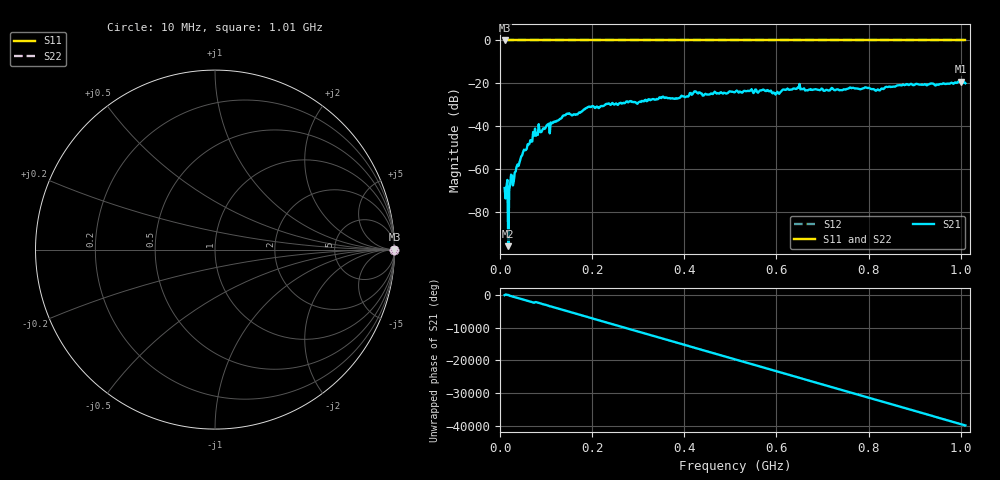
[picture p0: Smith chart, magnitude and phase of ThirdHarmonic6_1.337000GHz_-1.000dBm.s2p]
! 8/16/2025 2:59:09 PM
! C:\ANRITSUVNA\TEMP\TEMP.S2P
! CHANNEL.1
! TR.MEASUREMENT
! RAW.DATA
! RF.CORRECTION.OFF
! AVERAGING.OFF
! IF.BANDWIDTH: 5KHZ
! SWEEPTYPE:  FREQ.SWEEP(Linear)
! Reference Plane Port Info
! PORT:  PORT1  PORT2
! DISTANCE:  0  m  0  m
! TIME:  0  s  0  s
! PHASE.OFFSET:  0  deg.  0  deg.
! LOSS:  0  dB  0  dB
! REF.LOSS:  0  dB  0  dB
! REF.FREQ:  0  Hz  0  Hz
! Power Info
! POWER:  -20  dBm  -20  dBm
! EFF.POWER:  -20  dBm  -20  dBm
! SOURCE.ATTEN:  0  dB  0  dB
! TEST.ATTEN:  0  dB  0  dB
# GHZ S RI R 50.0
! FREQ.GHZ  S11RE  S11IM  S21RE  S21IM  S12RE  S12IM  S22RE  S22IM
!; PortSelection: Port_12
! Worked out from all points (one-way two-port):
!   501 points, 10 MHz to 1.01 GHz, reference 50 ohm
!   highest |S21| = -19.12 dB at 1 GHz (marker M1); lowest = -95.8 dB at 18 MHz (marker M2)
!   lowest |S11| = 0.0 dB at 10 MHz (marker M3)
!   |S11| at or under -10 dB: nowhere
!   |S22| runs from 0.0 to 0.0 dB; largest |S21 - S12| = 1.1
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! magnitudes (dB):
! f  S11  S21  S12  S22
! 10 MHz  0.0  -68.7  0.0  0.0
! 12 MHz  0.0  -73.6  0.0  0.0
! 16 MHz  0.0  -64.9  0.0  0.0
! 18 MHz  0.0  -95.8  0.0  0.0
! 48 MHz  0.0  -53.5  0.0  0.0
! 76 MHz  0.0  -41.0  0.0  0.0
! 142 MHz  0.0  -34.8  0.0  0.0
! 178 MHz  0.0  -32.9  0.0  0.0
! 196 MHz  0.0  -31.0  0.0  0.0
! 344 MHz  0.0  -27.1  0.0  0.0
! 384 MHz  0.0  -27.1  0.0  0.0
! 424 MHz  0.0  -23.7  0.0  0.0
! 444 MHz  0.0  -25.1  0.0  0.0
! 510 MHz  0.0  -24.1  0.0  0.0
! 570 MHz  0.0  -22.9  0.0  0.0
! 602 MHz  0.0  -23.9  0.0  0.0
! 646 MHz  0.0  -21.9  0.0  0.0
! 678 MHz  0.0  -23.0  0.0  0.0
! 820 MHz  0.0  -22.8  0.0  0.0
! 844 MHz  0.0  -21.5  0.0  0.0
! 1 GHz  0.0  -19.1  0.0  0.0
! 1.01 GHz  0.0  -20.0  0.0  0.0
